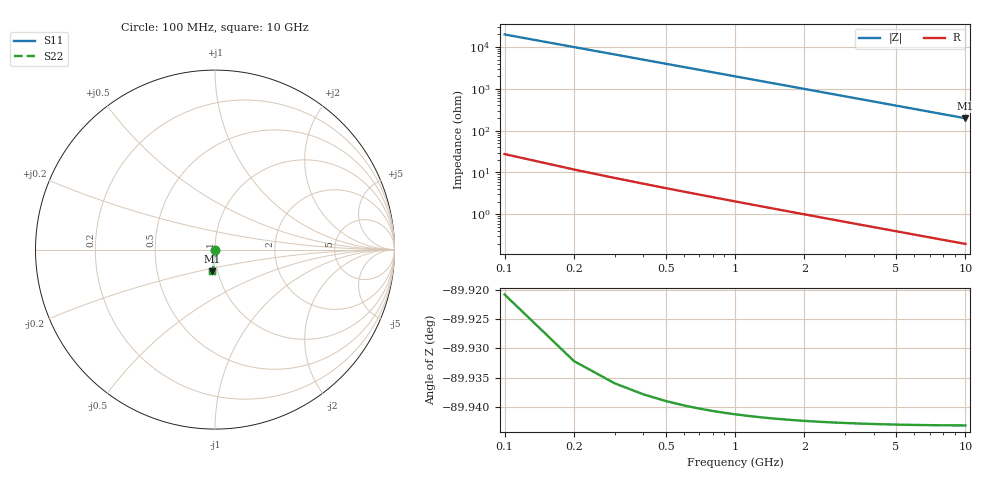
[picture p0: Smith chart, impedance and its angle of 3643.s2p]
# Hz S RI R 50.00
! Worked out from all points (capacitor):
!   100 points, 100 MHz to 10 GHz, reference 50 ohm
!   read as one part in shunt: C = 80.1 fF near 100 MHz
!   lowest |Z| = 198 ohm at 10 GHz (marker M1)
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1e8  4.45e-06 -0.00123  1 -0.00129  1 -0.00129  4.45e-06 -0.00123
2e8  -1.48e-06 -0.00246  1 -0.00258  1 -0.00258  -1.48e-06 -0.00246
3e8  -1.06e-05 -0.00368  1 -0.00386  1 -0.00386  -1.06e-05 -0.00368
4e8  -2.29e-05 -0.00491  1 -0.00515  1 -0.00515  -2.29e-05 -0.00491
5e8  -3.83e-05 -0.00614  0.9999 -0.00644  0.9999 -0.00644  -3.83e-05 -0.00614
6e8  -5.69e-05 -0.00737  0.9999 -0.00773  0.9999 -0.00773  -5.69e-05 -0.00737
7e8  -7.87e-05 -0.00859  0.9999 -0.00902  0.9999 -0.00902  -7.87e-05 -0.00859
8e8  -0.000104 -0.00982  0.9999 -0.0103  0.9999 -0.0103  -0.000104 -0.00982
9e8  -0.000132 -0.011  0.9999 -0.0116  0.9999 -0.0116  -0.000132 -0.011
1.1e9  -0.000197 -0.0135  0.9998 -0.0142  0.9998 -0.0142  -0.000197 -0.0135
1.4e9  -0.00032 -0.0172  0.9997 -0.018  0.9997 -0.018  -0.00032 -0.0172
1.8e9  -0.000527 -0.0221  0.9995 -0.0232  0.9995 -0.0232  -0.000527 -0.0221
2.1e9  -0.000716 -0.0258  0.9993 -0.0271  0.9993 -0.0271  -0.000716 -0.0258
2.5e9  -0.00101 -0.0307  0.999 -0.0322  0.999 -0.0322  -0.00101 -0.0307
2.9e9  -0.00136 -0.0356  0.9986 -0.0374  0.9986 -0.0374  -0.00136 -0.0356
3.4e9  -0.00187 -0.0417  0.9981 -0.0438  0.9981 -0.0438  -0.00187 -0.0417
4.2e9  -0.00284 -0.0515  0.9971 -0.0541  0.9971 -0.0541  -0.00284 -0.0515
5.1e9  -0.00418 -0.0625  0.9958 -0.0656  0.9958 -0.0656  -0.00418 -0.0625
5.9e9  -0.00558 -0.0723  0.9944 -0.0759  0.9944 -0.0759  -0.00558 -0.0723
6.7e9  -0.00718 -0.082  0.9928 -0.0861  0.9928 -0.0861  -0.00718 -0.082
8.4e9  -0.0112 -0.1024  0.9887 -0.1076  0.9887 -0.1076  -0.0112 -0.1024
1e10  -0.0159 -0.1214  0.9841 -0.1276  0.9841 -0.1276  -0.0159 -0.1214
